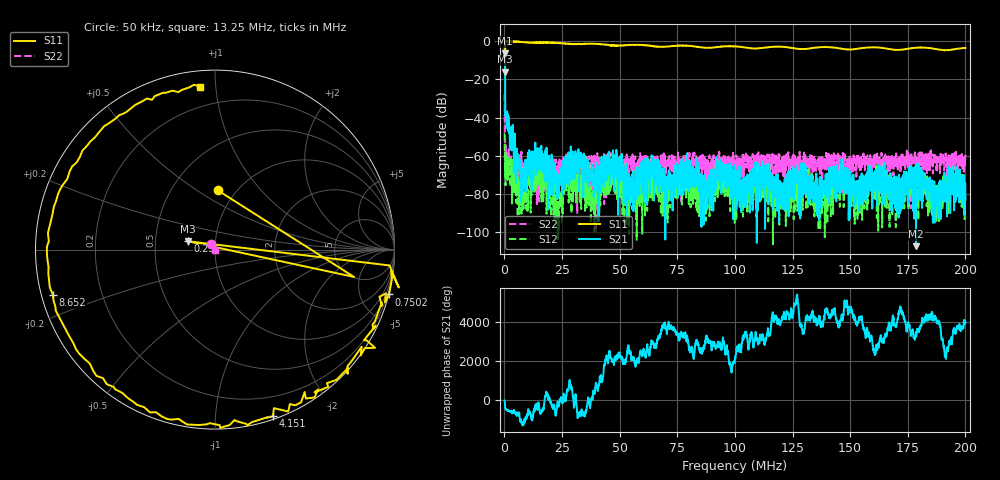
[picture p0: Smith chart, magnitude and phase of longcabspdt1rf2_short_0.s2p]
! 26-Feb-26 11:03:27 AM
! E:\VNA_MEASUREMENTS\LONGCAB_SPDT1_OPENSHORT\LONGCABSPDT1RF2_SHORT_0.S2P
! CHANNEL.1
! TR.MEASUREMENT
! CORRECTED.DATA
# GHZ S RI R 50.0
! FREQ.GHZ  S11RE  S11IM  S21RE  S21IM  S12RE  S12IM  S22RE  S22IM
!; PortSelection: Port_12
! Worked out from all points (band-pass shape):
!   2000 points, 50 kHz to 200 MHz, reference 50 ohm
!   highest |S21| = -6.25 dB at 150 kHz (marker M1); lowest = -107.3 dB at 178.6 MHz (marker M2)
!   |S21| within 3 dB of the highest: start of sweep to 203.6 kHz
!   lowest |S11| = -16.0 dB at 250 kHz (marker M3), VSWR 1.38, Z = 36.7 + j3.5 ohm
!   |S11| at or under -10 dB: 207 kHz to 288 kHz (81.01 kHz wide, 32.7 % of centre)
!   |S22| runs from -100.2 to -27.9 dB; largest |S21 - S12| = 0.49
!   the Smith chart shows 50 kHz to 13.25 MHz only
!   S11 on the Smith chart (normalised r, x): 50 kHz: 0.83, +0.61; 250 kHz: 0.73, +0.07; 750.2 kHz: -0.03, -7.88; 4.151 MHz: 0.03, -1.41; 8.652 MHz: 0.03, -0.14; 13.25 MHz: 0.08, +0.91
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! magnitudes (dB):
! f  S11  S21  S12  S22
! 50 kHz  -9.6  -9.1  -48.3  -27.9
! 150 kHz  -2.0  -6.2  -56.9  -47.0
! 250 kHz  -16.0  -11.8  -68.5  -50.4
! 750.2 kHz  0.0  -38.3  -64.2  -61.5
! 1.35 MHz  -0.2  -40.1  -72.7  -58.5
! 4.151 MHz  -0.1  -55.6  -70.1  -62.8
! 8.652 MHz  -0.6  -67.8  -78.8  -67.8
! 13.25 MHz  -0.8  -64.5  -68.9  -69.9
! 23.16 MHz  -0.9  -70.0  -103.6  -68.1
! 33.46 MHz  -1.4  -64.1  -67.2  -65.9
! 38.96 MHz  -1.4  -70.0  -79.0  -64.5
! 47.96 MHz  -2.4  -62.5  -71.8  -61.2
! 55.86 MHz  -1.9  -68.0  -80.6  -65.0
! 60.37 MHz  -2.1  -62.3  -74.6  -60.4
! 66.77 MHz  -2.8  -77.0  -75.6  -63.2
! 100.1 MHz  -2.7  -71.7  -84.1  -63.4
! 133.4 MHz  -3.6  -77.8  -80.1  -60.0
! 166.7 MHz  -4.1  -73.1  -81.4  -62.0
! 178.6 MHz  -3.4  -107.3  -75.2  -64.4
! 186.9 MHz  -4.0  -81.4  -75.6  -60.7
! 193.8 MHz  -4.4  -77.0  -71.4  -68.6
! 200 MHz  -3.5  -83.1  -84.2  -59.4
